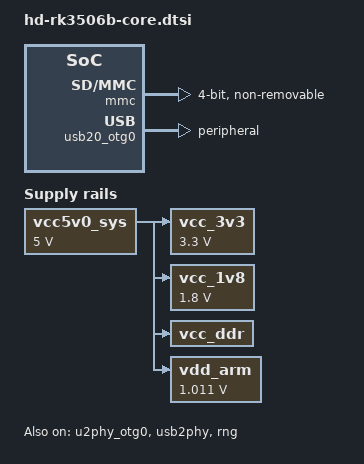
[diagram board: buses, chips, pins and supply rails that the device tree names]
// SPDX-License-Identifier: (GPL-2.0+ OR MIT)
/*
 * Vanxak HD-RK3506B-CORE — minimal on-module peripherals only:
 *   - DDR3L (512MB, initialized by SPL/ATF)
 *   - eMMC (8GB, same SDMMC controller as EVB)
 *   - I2C2 + license EEPROM (on-module, disabled in DT — not needed for boot)
 *   - fiq-debugger serial console (UART0 / ttyFIQ0)
 *
 * No carrier-board peripherals (Ethernet, LCD, audio, Wi-Fi, etc.).
 */

#include <dt-bindings/gpio/gpio.h>
#include <dt-bindings/pinctrl/rockchip.h>

/ {
	chosen {
		bootargs = "earlycon=uart8250,mmio32,0xff0a0000 console=ttyFIQ0,1500000n8 root=PARTUUID=614e0000-0000-4b53-8000-1d28000054a9 rootfstype=ext4 rw rootwait";
	};

	aliases {
		mmc0 = &mmc;
	};

	fiq_debugger: fiq-debugger {
		compatible = "rockchip,fiq-debugger";
		rockchip,serial-id = <0>;
		rockchip,wake-irq = <0>;
		rockchip,irq-mode-enable = <1>;
		rockchip,baudrate = <1500000>;
		interrupts = <GIC_SPI 115 IRQ_TYPE_LEVEL_HIGH>;
	};

	/* Module 5V input → on-board power rails (no external PMIC on carrier). */
	vcc5v0_sys: vcc5v0-sys {
		compatible = "regulator-fixed";
		regulator-name = "vcc5v0_sys";
		regulator-always-on;
		regulator-boot-on;
		regulator-min-microvolt = <5000000>;
		regulator-max-microvolt = <5000000>;
	};

	vcc_3v3: vcc-3v3 {
		compatible = "regulator-fixed";
		regulator-name = "vcc_3v3";
		regulator-always-on;
		regulator-boot-on;
		regulator-min-microvolt = <3300000>;
		regulator-max-microvolt = <3300000>;
		vin-supply = <&vcc5v0_sys>;
	};

	vcc_1v8: vcc-1v8 {
		compatible = "regulator-fixed";
		regulator-name = "vcc_1v8";
		regulator-always-on;
		regulator-boot-on;
		regulator-min-microvolt = <1800000>;
		regulator-max-microvolt = <1800000>;
		vin-supply = <&vcc5v0_sys>;
	};

	vcc_ddr: vcc-ddr {
		compatible = "regulator-fixed";
		regulator-name = "vcc_ddr";
		regulator-always-on;
		regulator-boot-on;
		vin-supply = <&vcc5v0_sys>;
	};

	vdd_arm: vdd-arm {
		compatible = "regulator-fixed";
		regulator-name = "vdd_arm";
		regulator-always-on;
		regulator-boot-on;
		regulator-min-microvolt = <1011000>;
		regulator-max-microvolt = <1011000>;
		vin-supply = <&vcc5v0_sys>;
	};
};

&cpu0 {
	cpu-supply = <&vdd_arm>;
};

&cma {
	size = <0x800000>;
};

&mmc {
	/* HD-RK3506B-512F8GLW: on-module eMMC, SD/MMC socket not populated. */
	bus-width = <4>;
	cap-mmc-highspeed;
	mmc-hs200-1.8v;
	no-sd;
	no-sdio;
	non-removable;
	pinctrl-names = "default";
	pinctrl-0 = <&sdmmc_clk_pins &sdmmc_cmd_pins &sdmmc_bus4_pins>;
	status = "okay";
};

/*
 * On-module license / ID EEPROM (I2C2, data sheet pins 103-104).
 * Not required for boot — leave disabled until userspace or vendor tools need it.
 */
&i2c2 {
	clock-frequency = <400000>;
	pinctrl-names = "default";
	pinctrl-0 = <&rm_io4_i2c2_scl &rm_io5_i2c2_sda>;
	status = "disabled";

	/* eeprom@50 {
	 *	compatible = "atmel,24c08";
	 *	reg = <0x50>;
	 *	pagesize = <16>;
	 *	size = <8192>;
	 * };
	 */
};

/* SoC USB OTG0 — available on module connector, used for Maskrom/Loader upgrade. */
&u2phy_otg0 {
	status = "okay";
};

&usb2phy {
	status = "okay";
};

&usb20_otg0 {
	dr_mode = "peripheral";
	status = "okay";
};

&rng {
	status = "okay";
};

/* --- Explicitly off: no carrier-board peripherals --- */

&audio_codec {
	status = "disabled";
};

&can0 {
	status = "disabled";
};

&can1 {
	status = "disabled";
};

&display_subsystem {
	status = "disabled";
};

&dsi {
	status = "disabled";
};

&dsi_dphy {
	status = "disabled";
};

&dsi_in_vop {
	status = "disabled";
};

&fspi {
	status = "disabled";
};

&gmac0 {
	status = "disabled";
};

&gmac1 {
	status = "disabled";
};

&flexbus_fspi {
	status = "disabled";
};

&dsmc {
	status = "disabled";
};

&dsmc_lb_slave {
	status = "disabled";
};

&route_dsi {
	status = "disabled";
};

&route_rgb {
	status = "disabled";
};

&rgb {
	status = "disabled";
};

&rga2 {
	status = "disabled";
};

&sai1 {
	status = "disabled";
};

&sai2 {
	status = "disabled";
};

&sai3 {
	status = "disabled";
};

&sai4 {
	status = "disabled";
};

&saradc {
	status = "disabled";
};

&u2phy_otg1 {
	status = "disabled";
};

&usb20_otg1 {
	status = "disabled";
};

&vop {
	status = "disabled";
};

&uart1 {
	status = "disabled";
};

&uart2 {
	status = "disabled";
};

&uart3 {
	status = "disabled";
};

&uart4 {
	status = "disabled";
};

&uart5 {
	status = "disabled";
};
